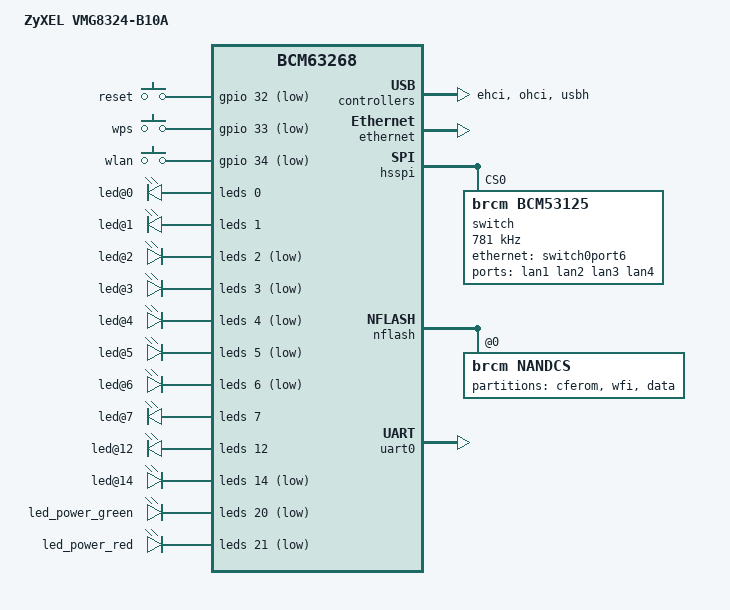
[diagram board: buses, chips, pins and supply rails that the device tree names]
// SPDX-License-Identifier: GPL-2.0-or-later
/*
 * ZyXEL VMG8324-B10A (MitraStar ODM, CFE board id "963168VX")
 *
 * Hardware facts are taken from the CFE boardparms table of this board
 * (decoded from the stock CFE in NAND block 0) and the stock boot log:
 *  - BCM63168D0, 128 MiB DDR3, 128 MiB SLC NAND (Hamming, 512 B steps)
 *  - BCM53124S (identifies as BCM53125) on HSSPI SSB0, LAN1-4 = ports 1-4,
 *    uplink RGMII to SoC switch port 6, 1000FD
 *  - WAN on SoC internal GPHY (switch0 port 3, phy4)
 *  - serial LEDs via 74HC164 (ledInit 0x1100: data low, shift inverted)
 */

#include "bcm63268.dtsi"

/ {
	model = "ZyXEL VMG8324-B10A";
	compatible = "zyxel,vmg8324-b10a", "brcm,bcm63168", "brcm,bcm63268";

	aliases {
		led-boot = &led_power_green;
		led-failsafe = &led_power_red;
		led-running = &led_power_green;
		led-upgrade = &led_power_green;
	};

	keys {
		compatible = "gpio-keys-polled";
		poll-interval = <100>;

		/*
		 * boardparms: reset = EXT_INTR_0, SES = EXT_INTR_1, WLAN = EXT_INTR_2.
		 * WPS (GPIO 33) and WiFi (GPIO 34) verified on the unit. The stock
		 * firmware uses the WiFi button to toggle all WLAN on/off (wlmngr
		 * do_EnableDisable), which matches KEY_RFKILL.
		 */
		reset {
			label = "reset";
			gpios = <&gpio 32 GPIO_ACTIVE_LOW>;
			linux,code = <KEY_RESTART>;
			debounce-interval = <60>;
		};

		wps {
			label = "wps";
			gpios = <&gpio 33 GPIO_ACTIVE_LOW>;
			linux,code = <KEY_WPS_BUTTON>;
			debounce-interval = <60>;
		};

		wlan {
			label = "wlan";
			gpios = <&gpio 34 GPIO_ACTIVE_LOW>;
			linux,code = <KEY_RFKILL>;
			debounce-interval = <60>;
		};
	};
};

&ehci {
	status = "okay";
};

&ethernet {
	status = "okay";

	nvmem-cells = <&macaddr_cferom_6a0 0>;
	nvmem-cell-names = "mac-address";
};

&hsspi {
	status = "okay";

	/* boardparms: ext switch bp_usConfigType = BP_ENET_CONFIG_HS_SPI_SSB_0 */
	switch@0 {
		compatible = "brcm,bcm53125";
		reg = <0>;
		spi-max-frequency = <781000>;
		spi-cpha;
		spi-cpol;
		dsa,member = <1 0>;

		ports {
			#address-cells = <1>;
			#size-cells = <0>;

			port@1 {
				reg = <1>;
				label = "lan1";
			};

			port@2 {
				reg = <2>;
				label = "lan2";
			};

			port@3 {
				reg = <3>;
				label = "lan3";
			};

			port@4 {
				reg = <4>;
				label = "lan4";
			};

			port@8 {
				reg = <8>;

				phy-mode = "rgmii-id";
				ethernet = <&switch0port6>;

				fixed-link {
					speed = <1000>;
					full-duplex;
				};
			};
		};
	};
};

&leds {
	status = "okay";

	brcm,serial-leds;
	brcm,serial-dat-low;
	brcm,serial-shift-inv;

	pinctrl-names = "default";
	pinctrl-0 = <&pinctrl_serial_led>;

	/*
	 * Index = LED controller output. Serial LEDs (74HC164) and the
	 * direct GPIO LEDs muxed to the controller (GPIO LEDCtrl 0x72d700:
	 * GPIO 8,9,10,12,14,15,17,20,21,22) share the index space.
	 * Polarity taken from boardparms. All LEDs below were verified on the
	 * front panel; the other boardparms LED outputs have no LED fitted.
	 */

	led@0 {
		/* GPHY0 Spd 0 - WAN LED */
		reg = <0>;
		brcm,hardware-controlled;
		brcm,link-signal-sources = <0>;
	};

	led@1 {
		/* GPHY0 Spd 1 - WAN LED */
		reg = <1>;
		brcm,hardware-controlled;
		brcm,link-signal-sources = <1>;
	};

	led@2 {
		/* bp_usGpioLedWanError, serial 2 AL */
		reg = <2>;
		active-low;
		function = LED_FUNCTION_WAN_ONLINE;
		color = <LED_COLOR_ID_RED>;
	};

	led@3 {
		/* boardparms id 25, serial 3 AL - front "USB2" */
		reg = <3>;
		active-low;
		function = LED_FUNCTION_USB;
		function-enumerator = <2>;
		color = <LED_COLOR_ID_GREEN>;
	};

	led@4 {
		/* bp_usGpioVoip1Led, serial 4 AL */
		reg = <4>;
		active-low;
		function = "phone";
		function-enumerator = <1>;
		color = <LED_COLOR_ID_GREEN>;
	};

	led@5 {
		/* bp_usGpioVoip2Led, serial 5 AL */
		reg = <5>;
		active-low;
		function = "phone";
		function-enumerator = <2>;
		color = <LED_COLOR_ID_GREEN>;
	};

	led@6 {
		/* boardparms id 27, serial 6 AL - front "USB1" */
		reg = <6>;
		active-low;
		function = LED_FUNCTION_USB;
		function-enumerator = <1>;
		color = <LED_COLOR_ID_GREEN>;
	};

	led@7 {
		/* bp_usGpioLedSesWireless, serial 7 active-high - front "2.4" */
		reg = <7>;
		function = LED_FUNCTION_WLAN;
		color = <LED_COLOR_ID_GREEN>;
	};




	led@12 {
		/* GPHY0 Act - WAN LED */
		reg = <12>;
		brcm,hardware-controlled;
	};

	led@14 {
		/* bp_usGpioLedAdsl, GPIO 14 AL */
		reg = <14>;
		active-low;
		function = "dsl";
		color = <LED_COLOR_ID_GREEN>;
	};



	led_power_green: led@20 {
		/* bp_usGpioLedBlPowerOn, GPIO 20 AL */
		reg = <20>;
		active-low;
		function = LED_FUNCTION_POWER;
		color = <LED_COLOR_ID_GREEN>;
	};

	led_power_red: led@21 {
		/* bp_usGpioLedBlStop, GPIO 21 AL */
		reg = <21>;
		active-low;
		function = LED_FUNCTION_POWER;
		color = <LED_COLOR_ID_RED>;
		panic-indicator;
	};

};

&nflash {
	status = "okay";

	nandcs@0 {
		compatible = "brcm,nandcs";
		reg = <0>;
		nand-ecc-step-size = <512>;
		nand-ecc-strength = <15>;
		nand-on-flash-bbt;
		brcm,nand-oob-sector-size = <64>;

		/*
		 * The CFE erases every block of the image slots without a
		 * JFFS2 cleanmarker at power-on: write one after each erase.
		 */
		openwrt,jffs2-cleanmarker-range = <0x0020000 0x7aa0000>;

		#address-cells = <1>;
		#size-cells = <1>;

		partitions {
			compatible = "fixed-partitions";
			#address-cells = <1>;
			#size-cells = <1>;

			/*
			 * Layout from the CFE NVRAM NAND partition table
			 * (ulNandPartOfsKb/ulNandPartSizeKb @ cferom 0x7d0):
			 * slot 1 at 0x20000 (0x3aa0000), slot 2 at 0x4000000
			 * (0x3ac0000). Each slot starts with one 128 KiB MSTC tag
			 * block, followed by the JFFS2 with vmlinux.lz; OpenWrt
			 * adds UBI behind it. The CFE boots the slot with the
			 * higher imageSequence and flashes new images into the
			 * other one, so the parser splits only the booted slot
			 * and leaves the other as plain img1/img2.
			 */

			partition@0 {
				label = "cferom";
				reg = <0x0000000 0x0020000>;
				read-only;

				nvmem-layout {
					compatible = "fixed-layout";
					#address-cells = <1>;
					#size-cells = <1>;

					macaddr_cferom_6a0: macaddr@6a0 {
						compatible = "mac-base";
						reg = <0x6a0 0x6>;
						#nvmem-cell-cells = <1>;
					};
				};
			};

			partition@20000 {
				compatible = "zyxel,mstc-wfi-split";
				label = "wfi";
				reg = <0x0020000 0x7aa0000>;
				zyxel,img1-size = <0x3aa0000>;
				zyxel,img2-offset = <0x3fe0000>;
			};

			partition@7b00000 {
				label = "data";
				reg = <0x7b00000 0x0400000>;
				read-only;
			};
		};
	};
};

&ohci {
	status = "okay";
};

&switch0 {
	dsa,member = <0 0>;

	ports {
		port@3 {
			reg = <3>;
			label = "wan";

			phy-handle = <&phy4>;
		};

		switch0port6: port@6 {
			reg = <6>;
			label = "extsw";

			phy-mode = "rgmii-id";

			fixed-link {
				speed = <1000>;
				full-duplex;
			};
		};
	};
};

&uart0 {
	status = "okay";
};

&usbh {
	status = "okay";
};
